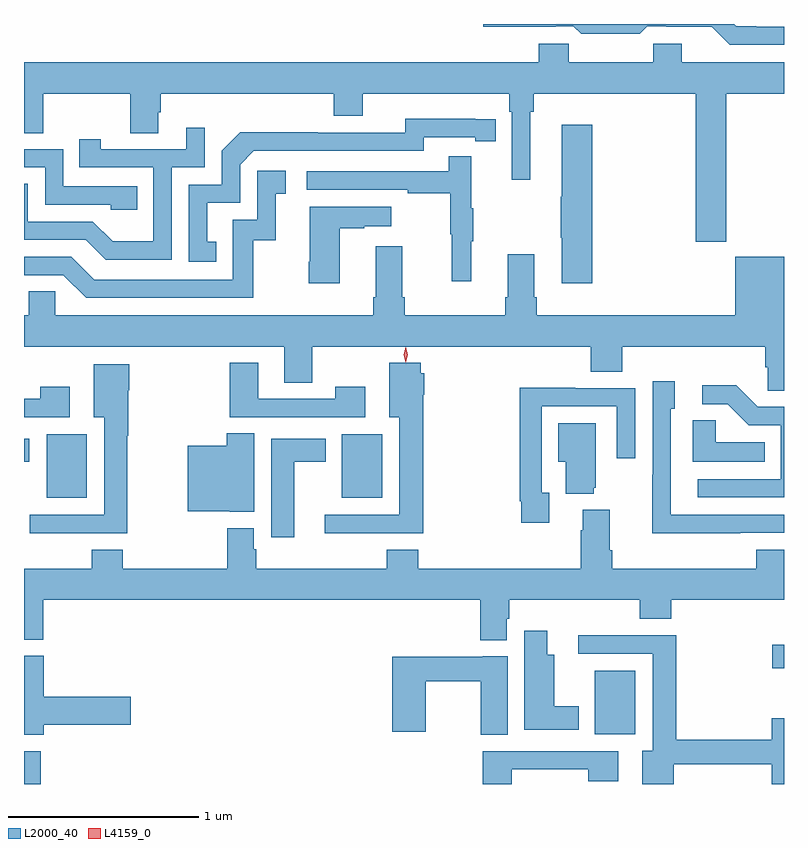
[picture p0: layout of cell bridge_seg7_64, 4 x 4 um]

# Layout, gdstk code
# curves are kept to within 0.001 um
import gdstk
lib = gdstk.Library(unit=1e-6, precision=1e-09)
def R(c, l, rs):  # rectangles x0, y0, x1, y1
    for r in rs: c.add(gdstk.rectangle(r[:2], r[2:], *l))
def P(c, l, *ps):  # polygons
    for p in ps: c.add(gdstk.Polygon(p, *l))
L2000_40 = (2000, 40)
L4159_0 = (4159, 0)

bridge_seg7_64 = lib.new_cell('bridge_seg7_64')
R(bridge_seg7_64, L2000_40, [(890.445,1008.97,890.534,1009.143), (893.45,1009.232,893.662,1009.567), (894.384,1009.58,894.445,1009.702), (890.564,1010.477,890.776,1010.812), (892.118,1010.477,892.33,1010.812), (890.445,1010.666,890.473,1010.788)])
P(bridge_seg7_64, L2000_40, [(894.445,1012.956),(894.298,1012.956),(894.298,1012.958),(894.194,1012.958),(894.182,1012.97),(892.863,1012.97),(892.863,1012.955),(893.243,1012.955),(893.243,1012.959),(893.337,1012.959),(893.377,1012.92),(893.685,1012.92),(893.724,1012.959),(893.824,1012.959),(893.824,1012.955),(894.065,1012.955),(894.159,1012.86),(894.445,1012.86)],
  [(894.141,1012.604),(894.445,1012.604),(894.445,1012.768),(893.908,1012.768),(893.908,1012.866),(893.758,1012.866),(893.758,1012.768),(893.313,1012.768),(893.313,1012.866),(893.153,1012.866),(893.153,1012.768),(890.445,1012.768),(890.445,1012.396),(890.547,1012.396),(890.547,1012.604),(891.004,1012.604),(891.004,1012.396),(891.151,1012.396),(891.151,1012.506),(891.164,1012.506),(891.164,1012.604),(892.076,1012.604),(892.076,1012.487),(892.228,1012.487),(892.228,1012.604),(893,1012.604),(893,1012.508),(893.013,1012.508),(893.013,1012.149),(893.11,1012.149),(893.11,1012.508),(893.129,1012.508),(893.129,1012.604),(893.981,1012.604),(893.981,1011.825),(894.141,1011.825)],
  [(891.458,1011.825),(891.409,1011.825),(891.409,1012.029),(891.582,1012.029),(891.582,1012.23),(891.654,1012.302),(892.548,1012.302),(892.548,1012.374),(892.82,1012.374),(892.82,1012.354),(892.928,1012.354),(892.928,1012.47),(892.452,1012.471),(892.452,1012.398),(891.992,1012.398),(891.992,1012.4),(891.584,1012.4),(891.486,1012.302),(891.486,1012.125),(891.312,1012.125),(891.312,1011.72),(891.458,1011.72)],
  [(893.435,1012.441),(893.276,1012.441),(893.276,1012.061),(893.269,1012.061),(893.269,1011.844),(893.276,1011.844),(893.276,1011.606),(893.435,1011.606)],
  [(891.222,1012.215),(891.396,1012.215),(891.396,1012.423),(891.299,1012.423),(891.299,1012.311),(890.848,1012.311),(890.848,1012.363),(890.737,1012.363),(890.737,1012.215),(891.126,1012.215),(891.126,1011.826),(890.912,1011.826),(890.808,1011.93),(890.466,1011.93),(890.466,1012.129),(890.445,1012.129),(890.445,1011.834),(890.771,1011.834),(890.876,1011.729),(891.222,1011.729)],
  [(891.041,1012.116),(890.652,1012.116),(890.652,1012.311),(890.445,1012.311),(890.445,1012.215),(890.556,1012.215),(890.556,1012.02),(890.901,1012.02),(890.901,1011.993),(891.041,1011.993)],
  [(892.799,1011.827),(892.81,1011.827),(892.81,1012.001),(892.799,1012.001),(892.799,1012.273),(892.681,1012.273),(892.681,1012.194),(891.933,1012.194),(891.933,1012.098),(892.465,1012.098),(892.465,1012.078),(892.689,1012.078),(892.689,1011.864),(892.696,1011.864),(892.696,1011.615),(892.799,1011.615)],
  [(891.652,1011.831),(891.77,1011.831),(891.77,1012.077),(891.823,1012.077),(891.823,1012.198),(891.672,1012.198),(891.672,1011.939),(891.543,1011.939),(891.543,1011.624),(890.814,1011.624),(890.694,1011.744),(890.445,1011.744),(890.445,1011.648),(890.652,1011.648),(890.772,1011.528),(891.652,1011.528)],
  [(892.108,1011.895),(892.235,1011.895),(892.235,1011.905),(892.378,1011.905),(892.378,1012.009),(891.95,1012.009),(891.95,1011.718),(891.943,1011.718),(891.943,1011.606),(892.108,1011.606)],
  [(892.991,1011.757),(892.991,1011.532),(892.979,1011.532),(892.979,1011.436),(892.448,1011.436),(892.448,1011.532),(892.435,1011.532),(892.435,1011.799),(892.295,1011.799),(892.295,1011.532),(892.283,1011.532),(892.283,1011.436),(890.61,1011.436),(890.61,1011.563),(890.471,1011.563),(890.471,1011.436),(890.445,1011.436),(890.445,1011.272),(891.815,1011.272),(891.815,1011.082),(891.963,1011.082),(891.963,1011.272),(893.429,1011.272),(893.429,1011.139),(893.594,1011.139),(893.594,1011.272),(894.347,1011.272),(894.347,1011.163),(894.36,1011.163),(894.36,1011.04),(894.445,1011.04),(894.445,1011.745),(894.188,1011.745),(894.188,1011.436),(893.144,1011.436),(893.144,1011.532),(893.131,1011.532),(893.131,1011.757)],
  [(892.547,1011.018),(892.552,1011.018),(892.552,1011.132),(892.534,1011.132),(892.534,1011.187),(892.367,1011.187),(892.367,1010.9),(892.421,1010.9),(892.421,1010.388),(892.029,1010.388),(892.029,1010.291),(892.547,1010.291)],
  [(892.24,1011.061),(892.084,1011.061),(892.084,1010.997),(891.679,1010.997),(891.679,1011.187),(891.527,1011.187),(891.527,1010.901),(892.24,1010.901)],
  [(890.988,1010.804),(890.993,1010.804),(890.993,1011.042),(890.998,1011.042),(890.998,1011.178),(890.813,1011.178),(890.813,1010.9),(890.867,1010.9),(890.867,1010.388),(890.475,1010.388),(890.475,1010.291),(890.988,1010.291)],
  [(894.215,1010.292),(894.445,1010.292),(894.445,1010.388),(893.85,1010.388),(893.85,1010.946),(893.869,1010.946),(893.869,1011.091),(893.754,1011.091),(893.754,1010.597),(893.752,1010.597),(893.752,1010.291),(894.215,1010.291)],
  [(894.445,1010.955),(894.306,1010.955),(894.193,1011.068),(894.015,1011.068),(894.015,1010.97),(894.149,1010.97),(894.26,1010.859),(894.429,1010.859),(894.429,1010.574),(893.991,1010.574),(893.991,1010.478),(894.445,1010.478)],
  [(890.686,1011.061),(890.53,1011.061),(890.53,1010.997),(890.445,1010.997),(890.445,1010.901),(890.686,1010.901)],
  [(893.209,1010.502),(893.169,1010.502),(893.169,1010.958),(893.565,1010.958),(893.565,1010.685),(893.661,1010.685),(893.661,1011.054),(893.345,1011.054),(893.345,1011.056),(893.053,1011.056),(893.053,1010.458),(893.061,1010.458),(893.061,1010.346),(893.209,1010.346)],
  [(894.344,1010.77),(894.087,1010.77),(894.087,1010.885),(893.966,1010.885),(893.966,1010.666),(894.344,1010.666)],
  [(893.444,1010.529),(893.455,1010.529),(893.455,1010.869),(893.258,1010.869),(893.258,1010.666),(893.297,1010.666),(893.297,1010.498),(893.444,1010.498)],
  [(891.658,1010.816),(891.512,1010.816),(891.512,1010.749),(891.308,1010.749),(891.308,1010.405),(891.528,1010.405),(891.528,1010.402),(891.658,1010.402)],
  [(891.868,1010.666),(892.033,1010.666),(892.033,1010.788),(891.746,1010.788),(891.746,1010.268),(891.868,1010.268)],
  [(890.801,1010.203),(890.801,1010.104),(890.445,1010.104),(890.445,1009.729),(890.546,1009.729),(890.546,1009.94),(892.847,1009.94),(892.847,1009.727),(892.987,1009.727),(892.987,1009.839),(893,1009.839),(893,1009.94),(893.687,1009.94),(893.687,1009.841),(893.852,1009.841),(893.852,1009.94),(894.445,1009.94),(894.445,1010.203),(894.299,1010.203),(894.299,1010.104),(893.54,1010.104),(893.54,1010.2),(893.527,1010.2),(893.527,1010.413),(893.387,1010.413),(893.387,1010.306),(893.375,1010.306),(893.375,1010.104),(892.52,1010.104),(892.52,1010.203),(892.355,1010.203),(892.355,1010.104),(891.668,1010.104),(891.668,1010.205),(891.655,1010.205),(891.655,1010.317),(891.515,1010.317),(891.515,1010.104),(890.966,1010.104),(890.966,1010.203)],
  [(893.365,1009.378),(893.236,1009.378),(893.236,1009.651),(893.2,1009.651),(893.2,1009.777),(893.078,1009.777),(893.078,1009.256),(893.365,1009.256)],
  [(893.866,1009.074),(894.38,1009.074),(894.38,1008.97),(894.445,1008.97),(894.445,1009.315),(894.38,1009.315),(894.38,1009.202),(893.879,1009.202),(893.879,1009.754),(893.361,1009.754),(893.361,1009.656),(893.753,1009.656),(893.753,1009.144),(893.699,1009.144),(893.699,1008.97),(893.866,1008.97)],
  [(890.549,1009.283),(891.007,1009.283),(891.007,1009.43),(890.549,1009.43),(890.549,1009.644),(890.445,1009.644),(890.445,1009.228),(890.549,1009.228)],
  [(892.99,1009.642),(892.86,1009.642),(892.86,1009.639),(892.382,1009.639),(892.382,1009.245),(892.56,1009.245),(892.56,1009.51),(892.849,1009.51),(892.849,1009.228),(892.99,1009.228)],
  [(893.011,1009.047),(893.416,1009.047),(893.416,1008.984),(893.572,1008.984),(893.572,1009.143),(892.859,1009.143),(892.859,1008.97),(893.011,1008.97)])
P(bridge_seg7_64, L4159_0, [(892.454,1011.187),(892.454,1011.187),(892.444,1011.228),(892.454,1011.269),(892.454,1011.269),(892.454,1011.269),(892.464,1011.228),(892.454,1011.187)])

lib.write_gds('bridge_seg7_64.gds')
